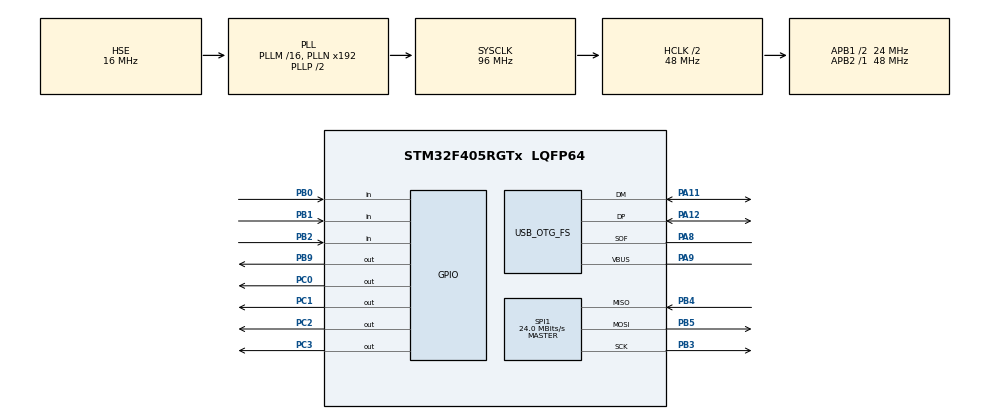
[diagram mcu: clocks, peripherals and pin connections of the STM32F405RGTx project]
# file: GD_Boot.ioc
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FATFS._MAX_SS=4096
FATFS._MIN_SS=4096
FATFS._USE_LFN=3
Mcu.Family=STM32F4
Mcu.Name=STM32F405RGTx
Mcu.Package=LQFP64
NVIC.OTG_FS_IRQn=true\:0\:0\:false\:false\:true\:false\:true\:true
NVIC.PriorityGroup=NVIC_PRIORITYGROUP_4
PA11.Mode=Device_Only
PA11.Signal=USB_OTG_FS_DM
PA12.Mode=Device_Only
PA12.Signal=USB_OTG_FS_DP
PA13.Mode=Serial_Wire
PA13.Signal=SYS_JTMS-SWDIO
PA14.Mode=Serial_Wire
PA14.Signal=SYS_JTCK-SWCLK
PA8.Mode=Activate_SOF_FS
PA8.Signal=USB_OTG_FS_SOF
PA9.Mode=Activate_VBUS
PA9.Signal=USB_OTG_FS_VBUS
PB0.Signal=GPIO_Input
PB1.Signal=GPIO_Input
PB2.Signal=GPIO_Input
PB3.Mode=Full_Duplex_Master
PB3.Signal=SPI1_SCK
PB4.Mode=Full_Duplex_Master
PB4.Signal=SPI1_MISO
PB5.Mode=Full_Duplex_Master
PB5.Signal=SPI1_MOSI
PB9.Signal=GPIO_Output
PC0.Signal=GPIO_Output
PC1.Signal=GPIO_Output
PC2.Signal=GPIO_Output
PC3.Signal=GPIO_Output
PH0-OSC_IN.Mode=HSE-External-Oscillator
PH0-OSC_IN.Signal=RCC_OSC_IN
PH1-OSC_OUT.Mode=HSE-External-Oscillator
PH1-OSC_OUT.Signal=RCC_OSC_OUT
ProjectManager.HeapSize=0x800
ProjectManager.StackSize=0x400
ProjectManager.TargetToolchain=MDK-ARM V5.32
RCC.AHBCLKDivider=RCC_SYSCLK_DIV2
RCC.AHBFreq_Value=48000000
RCC.APB1CLKDivider=RCC_HCLK_DIV2
RCC.APB1Freq_Value=24000000
RCC.APB1TimFreq_Value=48000000
RCC.APB2Freq_Value=48000000
RCC.APB2TimFreq_Value=48000000
RCC.CortexFreq_Value=48000000
RCC.HCLKFreq_Value=48000000
RCC.HSE_VALUE=16000000
RCC.HSI_VALUE=16000000
RCC.LSE_VALUE=32768
RCC.SYSCLKFreq_VALUE=96000000
RCC.SYSCLKSource=RCC_SYSCLKSOURCE_PLLCLK
RCC.VCOOutputFreq_Value=192000000
SPI1.BaudRatePrescaler=SPI_BAUDRATEPRESCALER_2
SPI1.CalculateBaudRate=24.0 MBits/s
SPI1.Direction=SPI_DIRECTION_2LINES
SPI1.Mode=SPI_MODE_MASTER
SPI1.VirtualType=VM_MASTER
USB_DEVICE.CLASS_NAME_FS=MSC
USB_DEVICE.MSC_MEDIA_PACKET-MSC_FS=4096
USB_DEVICE.USBD_MAX_STR_DESC_SIZ-MSC_FS=4096
USB_DEVICE.VirtualMode-MSC_FS=Msc
USB_DEVICE.VirtualModeFS=Msc_FS
USB_OTG_FS.VirtualMode=Device_Only
VP_FATFS_VS_Generic.Mode=User_defined
VP_USB_DEVICE_VS_USB_DEVICE_MSC_FS.Mode=MSC_FS
board=custom

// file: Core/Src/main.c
/* USER CODE BEGIN Header */
/**
  ******************************************************************************
  * @file           : main.c
  * @brief          : Main program body
  ******************************************************************************
  * @attention
  *
  * Copyright (c) 2022 STMicroelectronics.
  * All rights reserved.
  *
  * This software is licensed under terms that can be found in the LICENSE file
  * in the root directory of this software component.
  * If no LICENSE file comes with this software, it is provided AS-IS.
  *
  ******************************************************************************
  */
/* USER CODE END Header */
#include "main.h"
#include "fatfs.h"
#include "usb_device.h"

/* USER CODE BEGIN Includes */
#include "W25Qxx.h"
/* USER CODE END Includes */

/* USER CODE BEGIN PD */
#define FW_ADDR                                0x08020000
/* USER CODE END PD */

SPI_HandleTypeDef hspi1;

void SystemClock_Config(void);
static void MX_GPIO_Init(void);
static void MX_SPI1_Init(void);
/* USER CODE BEGIN PFP */
static void CRIPTO(uint8_t* data, uint32_t size);
/* USER CODE END PFP */

int main(void)
{

  /* MCU Configuration--------------------------------------------------------*/

  /* Reset of all peripherals, Initializes the Flash interface and the Systick. */
  HAL_Init();

  /* USER CODE BEGIN Init */
	FATFS fs;
	volatile FRESULT res, readres;
	FILINFO fileInfo;
	DIR dir;

	bool loadFile = 0;

  /* USER CODE END Init */

  /* Configure the system clock */
  SystemClock_Config();

  /* Initialize all configured peripherals */
  MX_GPIO_Init();
  //MX_USB_DEVICE_Init();
  MX_FATFS_Init();
  MX_SPI1_Init();
  /* USER CODE BEGIN 2 */

	W25qxx_Init();

	HAL_Delay(1000);

	// РџСЂРѕРІРµСЂРєР° РЅР° СЂРµР¶РёРј Р±СѓС‚Р»РѕР°РґРµСЂР°

	if (HAL_GPIO_ReadPin(GPIOB, 0b111))
	{

		HAL_GPIO_WritePin(GPIOC, GPIO_PIN_0, GPIO_PIN_SET);
		res = f_mount(&fs, "", 0);
		f_opendir(&dir, "");
		loadFile = 1;

	}
	else
	{
		HAL_Delay(100);
		MX_USB_DEVICE_Init();
		HAL_Delay(100);
	}

  /* USER CODE END 2 */

  /* Infinite loop */
  /* USER CODE BEGIN WHILE */
	while (1)
	{
		if (loadFile)
		{

			res = f_readdir(&dir, &fileInfo);

			if (res == FR_OK && fileInfo.fname[0])

			{

				static const uint8_t constName[13] = { 'T', 'C', '.', 'F', 'i', 'r', 'm', '.', 'D', '.', 'b', 'i', 'n' };
				static const uint8_t constNameHex[13] = { 'T', 'L', 'C', '.', 'h', 'e', 'x', };
				uint8_t tmpFileInfo[23];

				// РџСЂРёРІРµРґРµРЅРёРµ РїРѕР»СѓС‡РµРЅРЅРѕРіРѕ Р·Р°РіРѕР»РѕРІРєР° С„Р°Р№Р»Р° РґР»СЏ РїСЂРѕРІРµСЂРєРё РЅР° СЃРѕРѕС‚РІРµС‚СЃРІРёРµ

				memcpy(tmpFileInfo, fileInfo.fname, 23);

				tmpFileInfo[9] = tmpFileInfo[19];
				tmpFileInfo[10] = tmpFileInfo[20];
				tmpFileInfo[11] = tmpFileInfo[21];
				tmpFileInfo[12] = tmpFileInfo[22];

				for (int i = 13; i <= 22; i++)
				{
					tmpFileInfo[i] = 0;
				}

				if (!strcmp(constName, tmpFileInfo))
				{

					HAL_GPIO_WritePin(GPIOC, GPIO_PIN_1, GPIO_PIN_SET);

					volatile HAL_StatusTypeDef res1 = HAL_FLASH_Unlock();

					FIL firmware;
					uint8_t firmBuffer[64];
					unsigned int firmBytes = 0;
					volatile unsigned int byteCounter = 0;

					FLASH_EraseInitTypeDef eraseInit;
					uint sectorsErorr = 0;

					eraseInit.Sector = 5;
					eraseInit.TypeErase = FLASH_TYPEERASE_SECTORS;
					eraseInit.NbSectors = 1 + (fileInfo.fsize / 128000 ); // количество секторов

					volatile HAL_StatusTypeDef res =  HAL_FLASHEx_Erase(&eraseInit, &sectorsErorr);

					f_open(&firmware, (char*)fileInfo.fname, FA_READ);

					while (byteCounter < fileInfo.fsize)
					{
						f_read(&firmware, firmBuffer, 64, &firmBytes);
						//CRIPTO(firmBuffer, 64);

						for (int byte = 0; byte < 64; byte++)
						{
							volatile HAL_StatusTypeDef vres = HAL_FLASH_Program(TYPEPROGRAM_BYTE, FW_ADDR + byteCounter + byte, firmBuffer[byte]);
							HAL_GPIO_TogglePin(GPIOC, GPIO_PIN_2);

						}

						byteCounter += firmBytes;
					}

					HAL_FLASH_Lock();
					f_close(&firmware);
					//f_unlink((char*)fileInfo.fname);

					HAL_GPIO_WritePin(GPIOC, GPIO_PIN_3, GPIO_PIN_SET); // test

					typedef void(*pFunction)(void);

					HAL_Delay(10);
					__disable_irq();

					uint32_t jumpAddress = *(__IO uint32_t*)(FW_ADDR + 4);
					pFunction Jump_To_Application = (pFunction) jumpAddress;

					SCB->VTOR = *(__IO uint32_t*)FW_ADDR;

					__set_MSP(*(__IO uint32_t*) FW_ADDR);

					Jump_To_Application();

					while (1) {}
					;

				}

			}

			else break;

		}
    /* USER CODE END WHILE */

	}
}

void SystemClock_Config(void)
{
  RCC_OscInitTypeDef RCC_OscInitStruct = {0};
  RCC_ClkInitTypeDef RCC_ClkInitStruct = {0};

  /** Configure the main internal regulator output voltage
  */
  __HAL_RCC_PWR_CLK_ENABLE();
  __HAL_PWR_VOLTAGESCALING_CONFIG(PWR_REGULATOR_VOLTAGE_SCALE1);

  /** Initializes the RCC Oscillators according to the specified parameters
  * in the RCC_OscInitTypeDef structure.
  */
  RCC_OscInitStruct.OscillatorType = RCC_OSCILLATORTYPE_HSE;
  RCC_OscInitStruct.HSEState = RCC_HSE_ON;
  RCC_OscInitStruct.PLL.PLLState = RCC_PLL_ON;
  RCC_OscInitStruct.PLL.PLLSource = RCC_PLLSOURCE_HSE;
  RCC_OscInitStruct.PLL.PLLM = 16;
  RCC_OscInitStruct.PLL.PLLN = 192;
  RCC_OscInitStruct.PLL.PLLP = RCC_PLLP_DIV2;
  RCC_OscInitStruct.PLL.PLLQ = 4;
  if (HAL_RCC_OscConfig(&RCC_OscInitStruct) != HAL_OK)
  {
    Error_Handler();
  }

  /** Initializes the CPU, AHB and APB buses clocks
  */
  RCC_ClkInitStruct.ClockType = RCC_CLOCKTYPE_HCLK|RCC_CLOCKTYPE_SYSCLK
                              |RCC_CLOCKTYPE_PCLK1|RCC_CLOCKTYPE_PCLK2;
  RCC_ClkInitStruct.SYSCLKSource = RCC_SYSCLKSOURCE_PLLCLK;
  RCC_ClkInitStruct.AHBCLKDivider = RCC_SYSCLK_DIV2;
  RCC_ClkInitStruct.APB1CLKDivider = RCC_HCLK_DIV2;
  RCC_ClkInitStruct.APB2CLKDivider = RCC_HCLK_DIV1;

  if (HAL_RCC_ClockConfig(&RCC_ClkInitStruct, FLASH_LATENCY_1) != HAL_OK)
  {
    Error_Handler();
  }
}

static void MX_SPI1_Init(void)
{

  /* SPI1 parameter configuration*/
  hspi1.Instance = SPI1;
  hspi1.Init.Mode = SPI_MODE_MASTER;
  hspi1.Init.Direction = SPI_DIRECTION_2LINES;
  hspi1.Init.DataSize = SPI_DATASIZE_8BIT;
  hspi1.Init.CLKPolarity = SPI_POLARITY_LOW;
  hspi1.Init.CLKPhase = SPI_PHASE_1EDGE;
  hspi1.Init.NSS = SPI_NSS_SOFT;
  hspi1.Init.BaudRatePrescaler = SPI_BAUDRATEPRESCALER_2;
  hspi1.Init.FirstBit = SPI_FIRSTBIT_MSB;
  hspi1.Init.TIMode = SPI_TIMODE_DISABLE;
  hspi1.Init.CRCCalculation = SPI_CRCCALCULATION_DISABLE;
  hspi1.Init.CRCPolynomial = 10;
  if (HAL_SPI_Init(&hspi1) != HAL_OK)
  {
    Error_Handler();
  }

}

static void MX_GPIO_Init(void)
{
  GPIO_InitTypeDef GPIO_InitStruct = {0};

  /* GPIO Ports Clock Enable */
  __HAL_RCC_GPIOH_CLK_ENABLE();
  __HAL_RCC_GPIOC_CLK_ENABLE();
  __HAL_RCC_GPIOB_CLK_ENABLE();
  __HAL_RCC_GPIOA_CLK_ENABLE();

  /*Configure GPIO pin Output Level */
  HAL_GPIO_WritePin(GPIOC, GPIO_PIN_0|GPIO_PIN_1|GPIO_PIN_2|GPIO_PIN_3, GPIO_PIN_RESET);

  /*Configure GPIO pin Output Level */
  HAL_GPIO_WritePin(GPIOB, GPIO_PIN_9, GPIO_PIN_RESET);

  /*Configure GPIO pins : PC0 PC1 PC2 PC3 */
  GPIO_InitStruct.Pin = GPIO_PIN_0|GPIO_PIN_1|GPIO_PIN_2|GPIO_PIN_3;
  GPIO_InitStruct.Mode = GPIO_MODE_OUTPUT_PP;
  GPIO_InitStruct.Pull = GPIO_NOPULL;
  GPIO_InitStruct.Speed = GPIO_SPEED_FREQ_LOW;
  HAL_GPIO_Init(GPIOC, &GPIO_InitStruct);

  /*Configure GPIO pins : PB0 PB1 PB2 */
  GPIO_InitStruct.Pin = GPIO_PIN_0|GPIO_PIN_1|GPIO_PIN_2;
  GPIO_InitStruct.Mode = GPIO_MODE_INPUT;
  GPIO_InitStruct.Pull = GPIO_NOPULL;
  HAL_GPIO_Init(GPIOB, &GPIO_InitStruct);

  /*Configure GPIO pin : PB9 */
  GPIO_InitStruct.Pin = GPIO_PIN_9;
  GPIO_InitStruct.Mode = GPIO_MODE_OUTPUT_PP;
  GPIO_InitStruct.Pull = GPIO_NOPULL;
  GPIO_InitStruct.Speed = GPIO_SPEED_FREQ_LOW;
  HAL_GPIO_Init(GPIOB, &GPIO_InitStruct);

}

/* USER CODE BEGIN 4 */
static void CRIPTO(uint8_t* data, uint32_t size)
{
	for (uint32_t i = 0; i < size; i += 2)
	{
		data[i] = data[i] ^ 'T' ^ data[i + 1];
	}
}
/* USER CODE END 4 */

void Error_Handler(void)
{
	__disable_irq();
	while (1)
	{
	}
}
